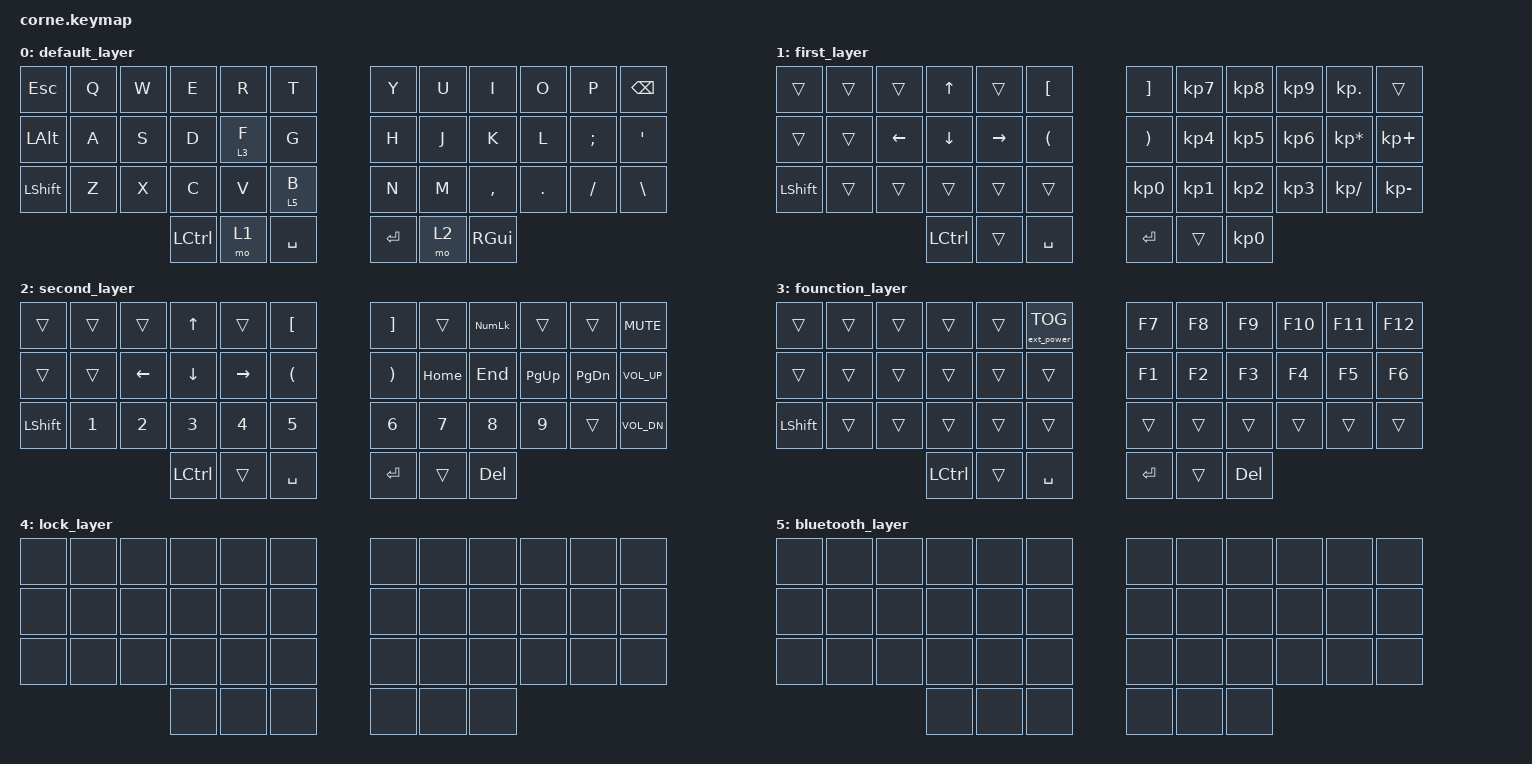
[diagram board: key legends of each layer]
/*
 * Copyright (c) 2020 The ZMK Contributors
 *
 * SPDX-License-Identifier: MIT
 */

#include <behaviors.dtsi>
#include <dt-bindings/zmk/keys.h>
#include <dt-bindings/zmk/bt.h>
#include <dt-bindings/zmk/ext_power.h>

/ {
        

    macros {
        macro_underscore: macro_underscore {    //ASCII码下划线宏
            compatible = "zmk,behavior-macro";
            #binding-cells = <0>;
            bindings
                = <&macro_press &kp LALT &mo 1>
                , <&macro_tap &kp KP_N9 &kp KP_N5>
                , <&macro_release &kp LALT &mo 1>
                ;
        };
        macro_multiply: macro_multiply {    //ASCII码乘号宏
            compatible = "zmk,behavior-macro";
            #binding-cells = <0>;
            bindings
                = <&macro_press &kp LALT &mo 1>
                , <&macro_tap &kp KP_N2 &kp KP_N1 &kp KP_N5>
                , <&macro_release &kp LALT &mo 1>
                ;
        };      
            macro_todo: macro_todo {    //todo list 宏
            compatible = "zmk,behavior-macro";
            #binding-cells = <0>;
            bindings
                = <&macro_tap &kp KP_MINUS &kp SPACE &kp LBKT &kp SPACE &kp RBKT &kp SPACE>
                ;
        };      
    };

        keymap {
                compatible = "zmk,keymap";

                default_layer {
// -----------------------------------------------------------------------------------------
// |  ESC |  Q  |  W  |  E  |  R  |  T  |   |  Y  |  U   |  I  |  O  |  P  | BKSP |
// | ALT |  A  |  S  |  D  |  F  |  G  |   |  H  |  J   |  K  |  L  |  ;  |  '   |
// | SHFT |  Z  |  X  |  C  |  V  |  B  |   |  N  |  M   |  ,  |  .  |  /  | \  |
//                    | CTRL | LWR | SPC |   | ENT | RSE  | GUI |
                        bindings = <
   &kp ESC   &kp Q &kp W &kp E &kp R &kp T   &kp Y &kp U  &kp I     &kp O   &kp P    &kp BSPC
   &kp LALT &kp A &kp S &kp D &lt 3 F &kp G   &kp H &kp J  &kp K     &kp L   &kp SEMI &kp SQT
   &kp LSHFT &kp Z &kp X &kp C &kp V &lt 5 B   &kp N &kp M  &kp COMMA &kp DOT &kp FSLH &kp BSLH
                  &kp LCTRL &mo 1 &kp SPACE   &kp RET &mo 2 &kp RGUI
                        >;
                };
                first_layer {
// -----------------------------------------------------------------------------------------
// |  TAB |  1  |  2  |  3  |  4  |  5  |   |  6  |  7  |  8  |  9  |  0  | BKSP |
// | BTCLR| BT1 | BT2 | BT3 | BT4 | BT5 |   | LFT | DWN |  UP | RGT |     |      |
// | SHFT |     |     |     |     |     |   |     |     |     |     |     |      |
//                    | GUI |     | SPC |   | ENT |     | ALT |
                        bindings = <
   &trans     &trans       &trans       &kp UP        &trans            &kp LBKT                       &kp RBKT         &kp KP_N7    &kp KP_N8    &kp KP_N9    &kp KP_DOT     &trans
   &trans     &trans       &kp LEFT     &kp DOWN      &kp RIGHT         &kp LPAR                       &kp RPAR         &kp KP_N4    &kp KP_N5    &kp KP_N6    &kp KP_MULTIPLY       &kp KP_PLUS
   &kp LSHFT  &trans       &trans       &trans        &trans            &trans                         &kp KP_N0        &kp KP_N1    &kp KP_N2    &kp KP_N3    &kp KP_DIVIDE          &kp KP_MINUS
                           &kp LCTRL    &trans        &kp SPACE                                        &kp RET          &trans       &kp KP_N0
                        >;
                };

                second_layer {
// -----------------------------------------------------------------------------------------
// |  TAB |  !  |  @  |  #  |  $  |  %  |   |  ^  |  &  |  *  |  (  |  )  | BKSP |
// | CTRL |     |     |     |     |     |   |  -  |  =  |  [  |  ]  |  \  |  `   |
// | SHFT |     |     |     |     |     |   |  _  |  +  |  {  |  }  | "|" |  ~   |
//                    | GUI |     | SPC |   | ENT |     | ALT |
                        bindings = <
   &trans    &trans   &trans &kp UP   &trans   &kp LBKT       &kp RBKT            &trans      &kp KP_NUMLOCK         &trans     &trans       &kp C_MUTE
   &trans  &trans   &kp LEFT &kp DOWN   &kp RIGHT   &kp LPAR       &kp RPAR    &kp HOME    &kp END        &kp PG_UP  &kp PG_DN    &kp C_VOL_UP
   &kp LSHFT &kp N1   &kp N2 &kp N3   &kp N4   &kp N5       &kp N6            &kp N7      &kp N8         &kp N9     &trans    &kp C_VOL_DN
                    	     &kp LCTRL &trans   &kp SPACE   &kp RET           &trans      &kp DEL
                        >;
                };
                founction_layer {
// -----------------------------------------------------------------------------------------
// |  TAB |  !  |  @  |  #  |  $  |  %  |   |  ^  |  &  |  *  |  (  |  )  | BKSP |
// | CTRL |     |     |     |     |     |   |  -  |  =  |  [  |  ]  |  \  |  `   |
// | SHFT |     |     |     |     |     |   |  _  |  +  |  {  |  }  | "|" |  ~   |
//                    | GUI |     | SPC |   | ENT |     | ALT |
                        bindings = <
   &trans    &trans   &trans &trans   &trans   &ext_power EP_TOG                 &kp F7      &kp F8      &kp F9         &kp F10    &kp F11      &kp F12
   &trans    &trans   &trans &trans   &trans   &trans                 &kp F1      &kp F2      &kp F3         &kp F4     &kp F5    &kp F6
   &kp LSHFT &trans   &trans &trans   &trans   &trans                 &trans      &trans      &trans         &trans     &trans    &trans
                    	     &kp LCTRL &trans   &kp SPACE             &kp RET     &trans      &kp DEL
                        >;
                };
                lock_layer {
// -----------------------------------------------------------------------------------------
// |  TAB |  !  |  @  |  #  |  $  |  %  |   |  ^  |  &  |  *  |  (  |  )  | BKSP |
// | CTRL |     |     |     |     |     |   |  -  |  =  |  [  |  ]  |  \  |  `   |
// | SHFT |     |     |     |     |     |   |  _  |  +  |  {  |  }  | "|" |  ~   |
//                    | GUI |     | SPC |   | ENT |     | ALT |
                        bindings = <
   &none    &none   &none &none   &none   &none                 &none      &none      &none         &none     &none    &none
   &none    &none   &none &none   &none   &none                 &none      &none      &none         &none     &none    &none
   &none    &none   &none &none   &none   &none                 &none      &none      &none         &none     &none    &none
                    	  &none &none  &none                    &none     &none       &none
                        >;
                };
                bluetooth_layer {
// -----------------------------------------------------------------------------------------
// |  TAB |  !  |  @  |  #  |  $  |  %  |   |  ^  |  &  |  *  |  (  |  )  | BKSP |
// | CTRL |     |     |     |     |     |   |  -  |  =  |  [  |  ]  |  \  |  `   |
// | SHFT |     |     |     |     |     |   |  _  |  +  |  {  |  }  | "|" |  ~   |
//                    | GUI |     | SPC |   | ENT |     | ALT |
                        bindings = <
   &none    &none   &none &none   &none   &none                 &none      &none      &none         &none     &none    &none
   &none    &none   &none &none   &none   &none                 &none      &none      &none         &none     &none    &none
   &none    &none   &none &none   &none   &none                 &none      &none      &none         &none     &none    &none
                    	  &none &none  &none                    &none     &none       &none
                        >;
                };
        };



    combos {
        compatible = "zmk,combos";
        combo_tab { //A+S=Tab
            timeout-ms = <50>;
            key-positions = <13 14>;
            bindings = <&kp TAB>;
            layers = <0>;
        };
        combo_underscore {  //B+N=_ (通过ASCII码的宏实现，宏定义见文件开头)
            timeout-ms = <50>;
            key-positions = <29 30>;
            bindings = <&macro_underscore>;
            layers = <0>;
        };
        combo_KPminus {   //G+H=-
            timeout-ms = <50>;
            key-positions = <17 18>;
            bindings = <&kp KP_MINUS>;
            layers = <0>;
        };       
        combo_LeftBrace {   //V+B={
            timeout-ms = <50>;
            key-positions = <28 29>;
            bindings = <&kp LBRC>;
            layers = <0>;
        };    
        combo_RightBrace {  //N+M=}
            timeout-ms = <50>;
            key-positions = <30 31>;
            bindings = <&kp RBRC>;
            layers = <0>;
        };        
        combo_LeftParenthesis { //F+G=(
            timeout-ms = <50>;
            key-positions = <16 17>;
            bindings = <&kp LPAR>;
            layers = <0>;
        };          
        combo_RightParenthesis {    //H+J=)
            timeout-ms = <50>;
            key-positions = <18 19>;
            bindings = <&kp RPAR>;
            layers = <0>;
        };   
        combo_LeftBracket { //R+T=[
            timeout-ms = <50>;
            key-positions = <4 5>;
            bindings = <&kp LBKT>;
            layers = <0>;
        };    
        combo_RightBracket {    //Y+U=]
            timeout-ms = <50>;
            key-positions = <6 7>;
            bindings = <&kp RBKT>;
            layers = <0>;
        };
        combo_equal {   //"/?"+"\|"="="(默认层和数字层均生效)
            timeout-ms = <50>;
            key-positions = <34 35>;
            bindings = <&kp EQUAL>;
            layers = <0 1>;
        };  
        combo_minus {   //".>"+"/?"="_ -"(默认层和数字层均生效)
            timeout-ms = <50>;
            key-positions = <33 34>;
            bindings = <&kp MINUS>;
            layers = <0 1>;
        };         
/*         combo_dot { //".>"+"/?"="."(仅在数字层生效)
            timeout-ms = <50>;
            key-positions = <33 34>;
            bindings = <&kp KP_DOT>;
            layers = <1>;
        };   */                 
        combo_tilde {   //T+Y=_或——(根据输入法状态输出不同)
            timeout-ms = <50>;
            key-positions = <5 6>;
            bindings = <&kp UNDER>;
            layers = <0>;
        };     
        combo_grave {   //esc+Q=`或~
            timeout-ms = <50>;
            key-positions = <0 1>;
            bindings = <&kp GRAVE>;
            layers = <0>;
        };    
        combo_caps {    //alt+A=CAPS
            timeout-ms = <50>;
            key-positions = <12 13>;
            bindings = <&kp CAPS>;
            layers = <0>;
        };   
        combo_multiply {    //;+'=乘号（通过ASCII码宏实现）
            timeout-ms = <50>;
            key-positions = <22 23>;
            bindings = <&macro_multiply>;
            layers = <0>;
        };   
        combo_lock {    //Y+L+ENTER=锁定键盘（只能再次按该组合键退出）
            timeout-ms = <100>;
            key-positions = <6 21 39>;
            bindings = <&tog 4>;
        };   

        combo_num {    //左手切层键+S+Z=切到第1层数字层（只能再次按该组合键退出）
            timeout-ms = <100>;
            key-positions = <14 25 37>;
            bindings = <&tog 1>;
        };   

        combo_LeftBackSpace {   //B+S=Backspace(左手退格键)
            timeout-ms = <50>;
            key-positions = <14 29>;
            bindings = <&kp BSPC>;
            layers = <0>;
        };   
        combo_todo {    //T+D=Markdown中todo list快捷键
            timeout-ms = <50>;
            key-positions = <5 15>;
            bindings = <&macro_todo>;
            layers = <0>;
        };   
        combo_bt0 {     //先按住B进入蓝牙层，然后同时按ESC+左手切层键+右手数字键切换蓝牙配置文件
            timeout-ms = <100>;
            key-positions = <0 37 41>;
            bindings = <&bt BT_SEL 0>;
            layers = <5>;
        };   
        combo_bt1 {
            timeout-ms = <100>;
            key-positions = <0 31 37>;
            bindings = <&bt BT_SEL 1>;
            layers = <5>;
        };   
        combo_bt2 {
            timeout-ms = <100>;
            key-positions = <0 32 37>;
            bindings = <&bt BT_SEL 2>;
            layers = <5>;
        };   
        combo_bt3 {
            timeout-ms = <100>;
            key-positions = <0 33 37>;
            bindings = <&bt BT_SEL 3>;
            layers = <5>;
        };   
        combo_bt4 {     //该文件暂无法使用，原因未知
            timeout-ms = <100>;
            key-positions = <0 19 37>;
            bindings = <&bt BT_SEL 4>;
            layers = <5>;
        };   
        combo_BtClr {   //清除当前蓝牙配置文件，先按住B进入蓝牙层，然后同时按C+左手切层键+L
            timeout-ms = <100>;
            key-positions = <21 27 37>;
            bindings = <&bt BT_CLR>;
            layers = <5>;
        };    
        combo_LeftEnter {   //左手回车 W+E+R
            timeout-ms = <50>;
            key-positions = <2 3 4>;
            bindings = <&kp ENTER>;
            layers = <0>;
        };    
        combo_LeftDelete {   //左手删除  D+E
            timeout-ms = <50>;
            key-positions = <3 15>;
            bindings = <&kp DEL>;
            layers = <0>;
        };     
};

};
